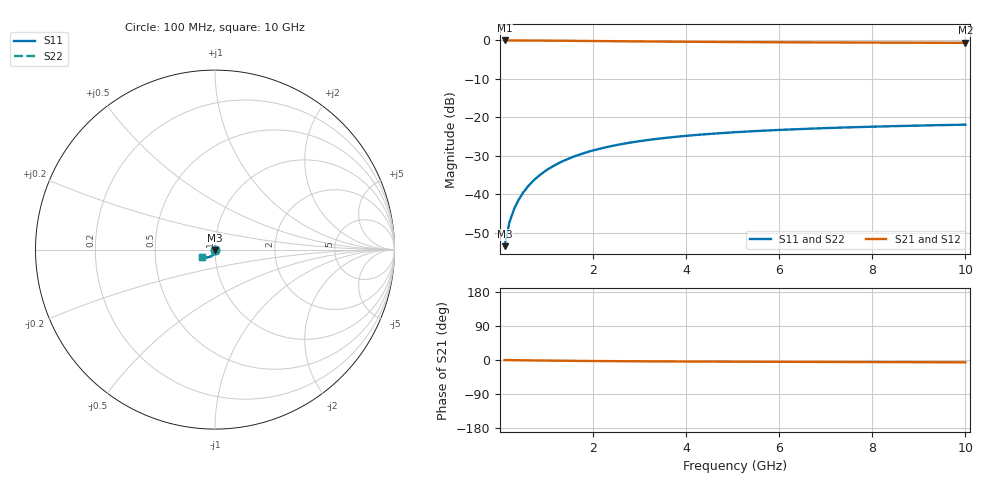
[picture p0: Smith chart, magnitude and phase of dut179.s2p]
! Touchstone file exported from HFSS 2024.1.0
!  File:  C:/UserFiles/LocalFiles/RDL_TSV_Batchsim/temp_TSV1_179_1779384012.aedt
!  Generated:  01:24:29 AM May 22, 2026
!  Design:  TSV1
!  Project:  temp_TSV1_179_1779384012
!  Setup:  Setup1
!  Solution:  Sweep
! Variables:
!  dtsv = 14.32um
!  hbump = 3um
!  htsv = 90.35um
!  lrdl = 252.1521522um
!  p = 40
!  p1 = 42.65um
!  t = 500um
!  trdl = 3um
!  wrdl = 24.89489489um
# GHz S MA R 50.000000
! Terminal data exported
! Port[1] = TSV22_T1
! Port[2] = TSV22_T2
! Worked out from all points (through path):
!   100 points, 100 MHz to 10 GHz, reference 50 ohm
!   highest |S21| = 0.00 dB at 100 MHz (marker M1); lowest = -0.6 dB at 10 GHz (marker M2)
!   lowest |S11| = -53.4 dB at 100 MHz (marker M3), VSWR 1.00, Z = 50 - j0.213 ohm
!   |S11| at or under -10 dB: start of sweep to end of sweep
!   |S22| runs from -53.4 to -21.9 dB; largest |S21 - S12| = 3.7e-15
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0.1  0.002129 -89.0  0.9998 -0.2  0.9998 -0.2  0.002129 -89.0
! Gamma 0 0 0 0
! Port Impedance 50 0 50 0
0.2  0.00426 -91.6  0.9997 -0.3  0.9997 -0.3  0.00426 -91.6
0.3  0.00639 -93.4  0.9994 -0.5  0.9994 -0.5  0.00639 -93.4
0.4  0.00851 -95.1  0.9989 -0.6  0.9989 -0.6  0.00851 -95.1
0.5  0.01061 -96.7  0.9984 -0.8  0.9984 -0.8  0.01061 -96.7
0.6  0.01269 -98.3  0.9978 -0.9  0.9978 -0.9  0.01269 -98.3
0.7  0.01473 -99.8  0.9972 -1.1  0.9972 -1.1  0.01473 -99.8
0.8  0.01674 -101.3  0.9964 -1.2  0.9964 -1.2  0.01674 -101.3
0.9  0.01871 -102.8  0.9956 -1.4  0.9956 -1.4  0.01871 -102.8
1.1  0.02252 -105.6  0.9937 -1.6  0.9937 -1.6  0.02252 -105.6
1.4  0.02789 -109.6  0.9905 -2.0  0.9905 -2.0  0.02789 -109.6
1.6  0.03122 -112.1  0.9882 -2.2  0.9882 -2.2  0.03122 -112.1
1.8  0.03434 -114.5  0.9858 -2.5  0.9858 -2.5  0.03434 -114.5
2.1  0.03865 -117.7  0.9822 -2.7  0.9822 -2.7  0.03865 -117.7
2.5  0.04375 -121.6  0.9774 -3.1  0.9774 -3.1  0.04375 -121.6
2.9  0.04818 -125.0  0.9728 -3.4  0.9728 -3.4  0.04818 -125.0
3.4  0.05293 -128.7  0.9675 -3.7  0.9675 -3.7  0.05293 -128.7
4.2  0.0591 -133.6  0.9601 -4.1  0.9601 -4.1  0.0591 -133.6
5.1  0.06453 -137.8  0.9532 -4.4  0.9532 -4.4  0.06453 -137.8
6.7  0.07162 -143.3  0.9438 -5.0  0.9438 -5.0  0.07162 -143.3
8.4  0.07692 -147.5  0.9365 -5.6  0.9365 -5.6  0.07692 -147.5
10  0.08061 -150.4  0.9315 -6.1  0.9315 -6.1  0.08061 -150.4
